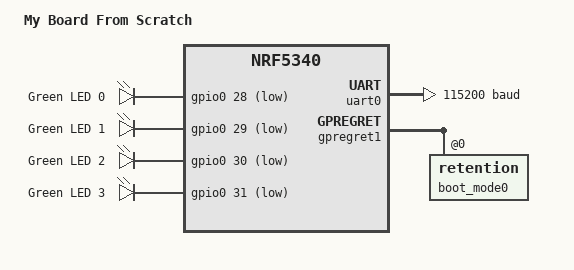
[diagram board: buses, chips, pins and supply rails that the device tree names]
/dts-v1/;
#include <nordic/nrf5340_cpuapp_qkaa.dtsi>
#include <nordic/nrf5340_cpuapp_partition.dtsi>
#include "my_board_nrf5340_cpuapp-pinctrl.dtsi"

/ {
	model = "My Board From Scratch";
	compatible = "albano,my_board";

	aliases {
		led0 = &led0;
		led1 = &led1;
		led2 = &led2;
		led3 = &led3;
	};

	chosen {
		zephyr,sram = &sram0_image;
		zephyr,flash = &flash0;
		zephyr,code-partition = &slot0_partition;
		zephyr,sram-secure-partition = &sram0_s;
		zephyr,sram-non-secure-partition = &sram0_ns;
		zephyr,boot-mode = &boot_mode0;
		zephyr,console = &uart0;
		zephyr,shell-uart = &uart0;
	};

	leds {
		compatible = "gpio-leds";

		led0: led_0 {
			gpios = <&gpio0 28 GPIO_ACTIVE_LOW>;
			label = "Green LED 0";
		};

		led1: led_1 {
			gpios = <&gpio0 29 GPIO_ACTIVE_LOW>;
			label = "Green LED 1";
		};

		led2: led_2 {
			gpios = <&gpio0 30 GPIO_ACTIVE_LOW>;
			label = "Green LED 2";
		};

		led3: led_3 {
			gpios = <&gpio0 31 GPIO_ACTIVE_LOW>;
			label = "Green LED 3";
		};
	};
};

&gpio0 {
	status = "okay";
};

&gpiote {
	status = "okay";
};

&uart0 {
	status = "okay";
	current-speed = <115200>;
	pinctrl-0 = <&uart0_default>;
	pinctrl-1 = <&uart0_sleep>;
	pinctrl-names = "default", "sleep";
};

&gpregret1 {
	status = "okay";

	boot_mode0: boot_mode@0 {
		compatible = "zephyr,retention";
		status = "okay";
		reg = <0x0 0x1>;
	};
};
